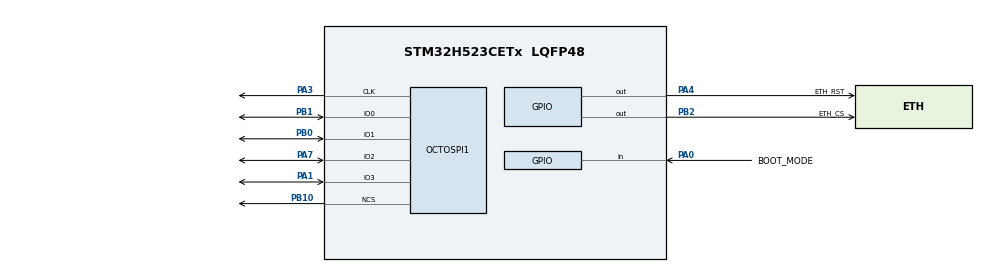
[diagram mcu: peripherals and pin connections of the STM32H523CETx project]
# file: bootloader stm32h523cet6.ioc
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BOOTPATH.BootPathName=LEGACY
BOOTPATH.UserSelectedBootPath=LEGACY
CORTEX_M33_NS.userName=CORTEX_M33
CRC.InputDataFormat=CRC_INPUTDATA_FORMAT_WORDS
Mcu.Family=STM32H5
Mcu.Name=STM32H523CETx
Mcu.Package=LQFP48
NVIC.PriorityGroup=NVIC_PRIORITYGROUP_4
OCTOSPI1.ClockPrescaler=1
OCTOSPI1.MemorySize=HAL_XSPI_SIZE_32MB
OCTOSPI1.MemoryType=HAL_XSPI_MEMTYPE_MACRONIX
PA0.GPIO_Label=BOOT_MODE
PA0.GPIO_PuPd=GPIO_PULLUP
PA0.Signal=GPIO_Input
PA1.Mode=OCTOSPI1_IO[3\:0]
PA1.Signal=OCTOSPI1_IO3
PA13(JTMS/SWDIO).Mode=Serial_Wire
PA13(JTMS/SWDIO).Signal=DEBUG_JTMS-SWDIO
PA14(JTCK/SWCLK).Mode=Serial_Wire
PA14(JTCK/SWCLK).Signal=DEBUG_JTCK-SWCLK
PA3.Mode=quad_mode
PA3.Signal=OCTOSPI1_CLK
PA4.GPIO_Label=ETH_RST
PA4.Signal=GPIO_Output
PA7.Mode=OCTOSPI1_IO[3\:0]
PA7.Signal=OCTOSPI1_IO2
PB0.Mode=OCTOSPI1_IO[3\:0]
PB0.Signal=OCTOSPI1_IO1
PB1.Mode=OCTOSPI1_IO[3\:0]
PB1.Signal=OCTOSPI1_IO0
PB10.Mode=quad_mode
PB10.Signal=OCTOSPI1_NCS
PB2.GPIO_Label=ETH_CS
PB2.Signal=GPIO_Output
PH0-OSC_IN(PH0).Mode=HSE-External-Oscillator
PH0-OSC_IN(PH0).Signal=RCC_OSC_IN
PH1-OSC_OUT(PH1).Mode=HSE-External-Oscillator
PH1-OSC_OUT(PH1).Signal=RCC_OSC_OUT
ProjectManager.HeapSize=0x200
ProjectManager.StackSize=0x400
ProjectManager.TargetToolchain=STM32CubeIDE
RCC.ADCFreq_Value=250000000
RCC.AHBFreq_Value=250000000
RCC.APB1Freq_Value=250000000
RCC.APB1TimFreq_Value=250000000
RCC.APB2Freq_Value=250000000
RCC.APB2TimFreq_Value=250000000
RCC.APB3Freq_Value=250000000
RCC.CSI_VALUE=4000000
RCC.CortexFreq_Value=250000000
RCC.EPOD_VALUE=25000000
RCC.HCLKFreq_Value=250000000
RCC.HSE_VALUE=25000000
RCC.HSI48_VALUE=48000000
RCC.HSI_VALUE=64000000
RCC.LSE_VALUE=32768
RCC.LSIRC_VALUE=32000
RCC.PLL2FRACN=0
RCC.PLL2M=2
RCC.PLL2N=40
RCC.PLL2P=4
RCC.PLL2Source=RCC_PLL2_SOURCE_HSE
RCC.PLL3FRACN=0
RCC.PLL3M=5
RCC.PLL3N=80
RCC.PLL3Source=RCC_PLL3_SOURCE_HSE
RCC.PLLFRACN=0
RCC.PLLM=2
RCC.PLLN=40
RCC.PLLSourceVirtual=RCC_PLL1_SOURCE_HSE
RCC.SPI1CLockSelection=RCC_SPI1CLKSOURCE_PLL2P
RCC.SPI3CLockSelection=RCC_SPI3CLKSOURCE_PLL3P
RCC.SYSCLKFreq_VALUE=250000000
RCC.SYSCLKSource=RCC_SYSCLKSOURCE_PLLCLK
RCC.USBFreq_Value=48000000
RCC.VCOOutputFreq_Value=500000000
VP_BOOTPATH_VS_BOOTPATH.Mode=BP_Activate
VP_CORTEX_M33_NS_VS_Hclk.Mode=Hclk_Mode
VP_CRC_VS_CRC.Mode=CRC_Activate
VP_MEMORYMAP_VS_MEMORYMAP.Mode=CurAppReg
VP_PWR_VS_LPOM.Mode=PowerOptimisation
VP_PWR_VS_SECSignals.Mode=Security/Privilege
board=custom

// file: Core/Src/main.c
/* USER CODE BEGIN Header */
/**
  ******************************************************************************
  * @file           : main.c
  * @brief          : Bootloader STM32H523CET6
  *                   - Backup Image : Flash Internal @ 0x08002000 (Sektor 1..63)
  *                   - App Image    : Flash Eksternal OctoSPI XIP @ 0x90001000
  *
  * ALUR:
  *  1. Init clock (LL) + GPIO (LL) + CRC (LL)
  *  2. Init OctoSPI → Indirect Read mode
  *  3. Baca metadata App dari flash eksternal (size, CRC, flag)
  *  4. Verifikasi firmware App di flash eksternal:
  *     - CRC OK  : jika flag OTA 0xA5, clear flag, switch MM mode, jump ke APP (0x90001000)
  *     - CRC FAIL / App Kosong: jump ke Backup di flash internal (0x08002000)
  *
  * CATATAN:
  *  - Flash internal STM32H5 sektor = 8 KB. Sektor 0 (0x08000000) = Bootloader.
  *  - OctoSPI TIDAK boleh di-deinit saat jump ke App (flash tetap harus aktif untuk XIP).
  ******************************************************************************
  * @attention
  *
  * Copyright (c) 2026 STMicroelectronics.
  * All rights reserved.
  *
  * This software is licensed under terms that can be found in the LICENSE file
  * in the root directory of this software component.
  * If no LICENSE file comes with this software, it is provided AS-IS.
  *
  ******************************************************************************
  */
/* USER CODE END Header */
#include "main.h"
#include "crc.h"
#include "gpio.h"

/* USER CODE BEGIN Includes */
#include "octospi_ll.h"
/* USER CODE END Includes */

/* USER CODE BEGIN PTD */

/* Tipe function pointer ke Reset_Handler aplikasi                           */
typedef void (*pFunction)(void);

/* USER CODE END PTD */

/* USER CODE BEGIN PD */

/* --------------------------------------------------------------------------
 * ALOKASI PARTISI FLASH INTERNAL (STM32H523 - 512 KB Total, Sektor = 8 KB)
 * -------------------------------------------------------------------------- */
/* Sektor 0   : Bootloader  (0x08000000 - 0x08001FFF, 8 KB)                  */
/* Sektor 1.. : Backup Image (0x08002000 - 0x0807FFFF, 504 KB)               */
#define BACKUP_APP_ADDRESS      (0x08002000UL)

/* --------------------------------------------------------------------------
 * ALOKASI PARTISI FLASH EKSTERNAL (OctoSPI Physical Offset)
 * -------------------------------------------------------------------------- */
#define EXTFLASH_SECTOR_SIZE    (4UL * 1024UL)          /* 4 KB (1 sector SPI flash)    */
#define FLASH_APP_META          (0x00000000UL)          /* Sektor 0 (0 KB - 4 KB): Meta */
#define FLASH_APP_BIN           (FLASH_APP_META + EXTFLASH_SECTOR_SIZE) /* 0x00001000 (4 KB)   */
#define FLASH_STAGING_META      (0x00100000UL)          /* Sektor 256 (1 MB): Staging Meta */
#define FLASH_STAGING_BIN       (FLASH_STAGING_META + EXTFLASH_SECTOR_SIZE) /* 0x00101000 (1 MB + 4 KB) */
#define FLASH_APP_MAX_SIZE      (1020UL * 1024UL)       /* ~1020 KB batas binary aplikasi   */

#define STAGING_FLAG_VALID      0xA5U

/* --------------------------------------------------------------------------
 * ALAMAT MEMORY-MAPPED (CPU SPACE @ 0x90000000)
 * -------------------------------------------------------------------------- */
#define APP_MM_ADDRESS          (OCTOSPI1_MM_BASE + FLASH_APP_BIN) /* 0x90001000 */
#define APP_ADDRESS             APP_MM_ADDRESS                     /* Alias      */

/* USER CODE END PD */

void SystemClock_Config(void);
/* USER CODE BEGIN PFP */
static void Boot_CheckAndJump(void);
static void Jump_To_Address(uint32_t address);
/* USER CODE END PFP */

/* USER CODE BEGIN 0 */

/* ==========================================================================
 * HELPER: Baca bytes dari flash eksternal via OctoSPI Indirect Read
 * Dipanggil SEBELUM memory-mapped mode aktif
 * ========================================================================== */
static void Flash_ReadBytes_Indirect(uint32_t flash_offset, uint8_t *buf, uint32_t len)
{
    /* Tunggu OctoSPI tidak busy                                             */
    while (OCTOSPI1->SR & OCTOSPI_SR_BUSY);

    /* Set panjang data yang akan dibaca                                     */
    OCTOSPI1->DLR = len - 1U;

    /* CCR: 1-1-4 Fast Read, Indirect Read mode (FMODE=01)
     * IMODE [4:3]   = 01 → Instruction: 1 wire
     * ADMODE[7:6]   = 01 → Address: 1 wire (SPI standar untuk indirect)
     * ADSIZE[9:8]   = 10 → Address: 24-bit
     * DMODE [27:26] = 01 → Data: 1 wire (indirect dibaca per byte)
     * DCYC  [22:17] = 0  → Tidak ada dummy untuk read biasa (0x03 cmd)     */
    OCTOSPI1->CCR = (1U << OCTOSPI_CCR_IMODE_Pos)
                  | (1U << OCTOSPI_CCR_ADMODE_Pos)
                  | (2U << OCTOSPI_CCR_ADSIZE_Pos)
                  | (1U << OCTOSPI_CCR_DMODE_Pos);

    /* FMODE = 01 → Indirect Read                                            */
    OCTOSPI1->CR = (OCTOSPI1->CR & ~OCTOSPI_CR_FMODE_Msk)
                 | (1U << OCTOSPI_CR_FMODE_Pos);

    /* IR: perintah baca normal (0x03)                                       */
    OCTOSPI1->IR = 0x03U;

    /* AR: alamat di flash yang ingin dibaca                                 */
    OCTOSPI1->AR = flash_offset;

    /* Baca data byte per byte dari FIFO                                     */
    for (uint32_t i = 0; i < len; i++)
    {
        while (!(OCTOSPI1->SR & OCTOSPI_SR_FTF) &&
               !(OCTOSPI1->SR & OCTOSPI_SR_TCF));
        buf[i] = *(__IO uint8_t *)(&OCTOSPI1->DR);
    }

    /* Tunggu Transfer Complete                                              */
    while (!(OCTOSPI1->SR & OCTOSPI_SR_TCF));
    OCTOSPI1->FCR = OCTOSPI_FCR_CTCF;

    /* Kembali ke Indirect Write mode (default)                              */
    OCTOSPI1->CR = (OCTOSPI1->CR & ~OCTOSPI_CR_FMODE_Msk);
}

/* ==========================================================================
 * HELPER: Tunggu proses internal Flash (WIP bit = 0)
 * ========================================================================== */
static void Flash_WaitBusy_Indirect(void)
{
    uint8_t status;
    do {
        while (OCTOSPI1->SR & OCTOSPI_SR_BUSY);
        OCTOSPI1->DLR = 0U;
        OCTOSPI1->CCR = (1U << OCTOSPI_CCR_IMODE_Pos)
                      | (1U << OCTOSPI_CCR_DMODE_Pos);
        OCTOSPI1->CR  = (OCTOSPI1->CR & ~OCTOSPI_CR_FMODE_Msk)
                      | (1U << OCTOSPI_CR_FMODE_Pos);
        OCTOSPI1->IR  = FLASH_CMD_RDSR;
        while (!(OCTOSPI1->SR & OCTOSPI_SR_TCF) &&
               !(OCTOSPI1->SR & OCTOSPI_SR_FTF));
        status = *(__IO uint8_t *)(&OCTOSPI1->DR);
        while (!(OCTOSPI1->SR & OCTOSPI_SR_TCF));
        OCTOSPI1->FCR = OCTOSPI_FCR_CTCF;
        OCTOSPI1->CR  = (OCTOSPI1->CR & ~OCTOSPI_CR_FMODE_Msk);
    } while (status & 0x01U);
}

/* ==========================================================================
 * HELPER: Tulis 1 byte ke flash via OctoSPI Indirect Write
 * ========================================================================== */
static void Flash_WriteByte_Indirect(uint32_t flash_offset, uint8_t byte)
{
    Flash_WaitBusy_Indirect();
    OCTOSPI1_LL_SendCmd(FLASH_CMD_WREN);

    while (OCTOSPI1->SR & OCTOSPI_SR_BUSY);
    OCTOSPI1->DLR = 0U;
    OCTOSPI1->CCR = (1U << OCTOSPI_CCR_IMODE_Pos)
                  | (1U << OCTOSPI_CCR_ADMODE_Pos)
                  | (2U << OCTOSPI_CCR_ADSIZE_Pos)
                  | (1U << OCTOSPI_CCR_DMODE_Pos);
    OCTOSPI1->CR = (OCTOSPI1->CR & ~OCTOSPI_CR_FMODE_Msk);
    OCTOSPI1->IR = 0x02U; /* Page Program */
    OCTOSPI1->AR = flash_offset;

    *(__IO uint8_t *)(&OCTOSPI1->DR) = byte;

    while (!(OCTOSPI1->SR & OCTOSPI_SR_TCF));
    OCTOSPI1->FCR = OCTOSPI_FCR_CTCF;

    Flash_WaitBusy_Indirect();
}

/* ==========================================================================
 * HELPER: Erase 1 sektor (4 KB) di flash eksternal
 * ========================================================================== */
static void Flash_EraseSector_Indirect(uint32_t flash_offset)
{
    Flash_WaitBusy_Indirect();
    OCTOSPI1_LL_SendCmd(FLASH_CMD_WREN);

    while (OCTOSPI1->SR & OCTOSPI_SR_BUSY);
    OCTOSPI1->DLR = 0U;
    OCTOSPI1->CCR = (1U << OCTOSPI_CCR_IMODE_Pos)
                  | (1U << OCTOSPI_CCR_ADMODE_Pos)
                  | (2U << OCTOSPI_CCR_ADSIZE_Pos);
    OCTOSPI1->CR  = (OCTOSPI1->CR & ~OCTOSPI_CR_FMODE_Msk);
    OCTOSPI1->IR  = 0x20U; /* Sector Erase 4KB */
    OCTOSPI1->AR  = flash_offset;

    while (!(OCTOSPI1->SR & OCTOSPI_SR_TCF));
    OCTOSPI1->FCR = OCTOSPI_FCR_CTCF;

    Flash_WaitBusy_Indirect();
}

/* ==========================================================================
 * HELPER: Tulis 1 page (maks 256 byte) ke flash eksternal
 * ========================================================================== */
static void Flash_WritePage_Indirect(uint32_t flash_offset, const uint8_t *data, uint16_t len)
{
    if (len == 0 || len > 256) return;
    Flash_WaitBusy_Indirect();
    OCTOSPI1_LL_SendCmd(FLASH_CMD_WREN);

    while (OCTOSPI1->SR & OCTOSPI_SR_BUSY);
    OCTOSPI1->DLR = (uint32_t)(len - 1U);
    OCTOSPI1->CCR = (1U << OCTOSPI_CCR_IMODE_Pos)
                  | (1U << OCTOSPI_CCR_ADMODE_Pos)
                  | (2U << OCTOSPI_CCR_ADSIZE_Pos)
                  | (1U << OCTOSPI_CCR_DMODE_Pos);
    OCTOSPI1->CR  = (OCTOSPI1->CR & ~OCTOSPI_CR_FMODE_Msk);
    OCTOSPI1->IR  = 0x02U; /* Page Program */
    OCTOSPI1->AR  = flash_offset;

    for (uint16_t i = 0; i < len; i++)
    {
        while (!(OCTOSPI1->SR & OCTOSPI_SR_FTF) &&
               !(OCTOSPI1->SR & OCTOSPI_SR_TCF));
        *(__IO uint8_t *)(&OCTOSPI1->DR) = data[i];
    }

    while (!(OCTOSPI1->SR & OCTOSPI_SR_TCF));
    OCTOSPI1->FCR = OCTOSPI_FCR_CTCF;

    Flash_WaitBusy_Indirect();
}

/* ==========================================================================
 * HELPER: Salin firmware dari STAGING (0x00101000) ke APP (0x00001000)
 * ========================================================================== */
static void Boot_CopyStagingToApp(uint32_t size, uint32_t crc)
{
    /* 1. Hapus sektor-sektor aplikasi aktif (FLASH_APP_BIN) */
    uint32_t sectors = (size + EXTFLASH_SECTOR_SIZE - 1U) / EXTFLASH_SECTOR_SIZE;
    for (uint32_t s = 0; s < sectors; s++)
    {
        Flash_EraseSector_Indirect(FLASH_APP_BIN + (s * EXTFLASH_SECTOR_SIZE));
    }

    /* 2. Salin binary dari FLASH_STAGING_BIN ke FLASH_APP_BIN per page (256 byte) */
    uint8_t page_buf[256];
    uint32_t copied = 0;
    while (copied < size)
    {
        uint16_t chunk = (size - copied > sizeof(page_buf)) ? (uint16_t)sizeof(page_buf) : (uint16_t)(size - copied);
        Flash_ReadBytes_Indirect(FLASH_STAGING_BIN + copied, page_buf, chunk);
        Flash_WritePage_Indirect(FLASH_APP_BIN + copied, page_buf, chunk);
        copied += chunk;
    }

    /* 3. Tulis metadata aplikasi di FLASH_APP_META */
    Flash_EraseSector_Indirect(FLASH_APP_META);
    uint8_t app_meta[10] = { 0 };
    app_meta[0] = (uint8_t)(size);
    app_meta[1] = (uint8_t)(size >> 8);
    app_meta[2] = (uint8_t)(size >> 16);
    app_meta[3] = (uint8_t)(size >> 24);
    app_meta[4] = (uint8_t)(crc);
    app_meta[5] = (uint8_t)(crc >> 8);
    app_meta[6] = (uint8_t)(crc >> 16);
    app_meta[7] = (uint8_t)(crc >> 24);
    app_meta[8] = 0x00; /* Flag App Normal */
    Flash_WritePage_Indirect(FLASH_APP_META, app_meta, 10);

    /* 4. Hapus flag valid staging (tulis 0x00 ke byte ke-8 di FLASH_STAGING_META) */
    Flash_WriteByte_Indirect(FLASH_STAGING_META + 8U, 0x00U);
}

/* ==========================================================================
 * HELPER: Hitung CRC32 dari flash eksternal (indirect read, per 32-bit word)
 * Menggunakan hardware CRC unit STM32H5 (sudah di-init oleh MX_CRC_Init)
 * ========================================================================== */
static uint32_t CRC32_ComputeFromFlash(uint32_t flash_offset, uint32_t size_bytes)
{
    uint8_t  buf[64];
    uint32_t remaining = size_bytes;
    uint32_t offset    = flash_offset;

    /* Reset CRC unit                                                        */
    LL_CRC_ResetCRCCalculationUnit(CRC);

    while (remaining > 0U)
    {
        uint32_t chunk = (remaining > sizeof(buf)) ? sizeof(buf) : remaining;

        /* Bulatkan ke kelipatan 4 (karena feed per word 32-bit)            */
        uint32_t chunk_aligned = (chunk + 3U) & ~3U;

        /* Bersihkan buffer dulu agar padding 0xFF tidak merusak CRC        */
        for (uint32_t z = 0; z < chunk_aligned; z++) buf[z] = 0xFFU;

        Flash_ReadBytes_Indirect(offset, buf, chunk);

        /* Feed ke hardware CRC per 32-bit word                             */
        for (uint32_t i = 0; i < chunk_aligned; i += 4U)
        {
            uint32_t word = (uint32_t)buf[i]
                          | ((uint32_t)buf[i + 1U] << 8U)
                          | ((uint32_t)buf[i + 2U] << 16U)
                          | ((uint32_t)buf[i + 3U] << 24U);
            LL_CRC_FeedData32(CRC, word);
        }

        offset    += chunk;
        remaining -= chunk;
    }

    return LL_CRC_ReadData32(CRC);
}

/* ==========================================================================
 * HELPER: Jump ke aplikasi di alamat tertentu (Internal Flash atau XIP MM)
 * ========================================================================== */
static void Jump_To_Address(uint32_t address)
{
    uint32_t app_msp   = *(__IO uint32_t *)(address);
    uint32_t app_reset = *(__IO uint32_t *)(address + 4U);

    /* Validasi MSP: harus di range SRAM STM32H523 (0x20000000..0x20044000) */
    if ((app_msp & 0xFF000000U) != 0x20000000U)
    {
        while (1); /* Flash tidak valid, hang di sini                       */
    }

    __disable_irq();

    /* Matikan SysTick sepenuhnya                                            */
    SysTick->CTRL = 0U;
    SysTick->LOAD = 0U;
    SysTick->VAL  = 0U;

    /* Clear semua IRQ pending di NVIC                                       */
    for (uint8_t i = 0; i < 8U; i++)
    {
        NVIC->ICER[i] = 0xFFFFFFFFU;
        NVIC->ICPR[i] = 0xFFFFFFFFU;
    }

    /* Pindahkan Vector Table ke lokasi aplikasi                             */
    SCB->VTOR = address;

    /* Reset MSPLIM (Stack Pointer Limit) untuk Cortex-M33                   */
    __set_MSPLIM(0);

    __DSB();
    __ISB();

    /* Eksekusi Jump via Assembly Murni (Bebas dari Stack Frame C)           */
    __asm volatile (
        "msr msp, %0 \n"  /* Isi Main Stack Pointer dengan MSP aplikasi */
        "bx  %1      \n"  /* Branch langsung ke Reset_Handler aplikasi  */
        :
        : "r" (app_msp), "r" (app_reset)
        : "memory"
    );

    while (1); /* Tidak seharusnya sampai sini                              */
}

/* ==========================================================================
 * MAIN LOGIC: Cek firmware App di Flash Eksternal, lalu fallback ke Backup
 *
 * Alur:
 *  1. Baca FLASH_APP_META dari OctoSPI flash:
 *     Format metadata: [0..3]=size, [4..7]=crc32, [8]=flag (0xA5 jika baru OTA)
 *  2. Jika size valid & MSP valid:
 *     - Hitung hardware CRC32 dari binary di FLASH_APP_BIN (0x00001000)
 *     - Jika CRC cocok:
 *         * Clear flag 0xA5 (jika ada) di byte ke-8
 *         * Aktifkan mode Memory-Mapped OctoSPI
 *         * Jump ke APP_MM_ADDRESS (0x90001000)
 *  3. Jika App tidak valid / corrupt:
 *     - Cek firmware Backup di Flash Internal (0x08002000)
 *     - Jika MSP valid: Jump ke Backup (0x08002000)
 *  4. Jika keduanya tidak valid: CPU hang (while 1)
 * ========================================================================== */
static void Boot_CheckAndJump(void)
{
    /* ======================================================================
     * 0. MANUAL RECOVERY MODE (TOMBOL BOOT_MODE / PA0)
     *    Jika pin BOOT_MODE ditekan ke GND (LOW saat startup/reset),
     *    langsung paksa meloncat ke program Backup di internal flash.
     * ====================================================================== */
    if (LL_GPIO_IsInputPinSet(BOOT_MODE_GPIO_Port, BOOT_MODE_Pin) == 0)
    {
        uint32_t backup_msp = *(__IO uint32_t *)(BACKUP_APP_ADDRESS);
        if ((backup_msp & 0xFF000000U) == 0x20000000U)
        {
            Jump_To_Address(BACKUP_APP_ADDRESS);
        }
    }

    uint8_t  meta[10];
    uint8_t  app_valid = 0;

    /* ======================================================================
     * 1. CEK FIRMWARE BARU DI STAGING AREA (HASIL OTA DARI APP)
     * ====================================================================== */
    Flash_ReadBytes_Indirect(FLASH_STAGING_META, meta, sizeof(meta));

    uint32_t size_stg = (uint32_t)meta[0]
                      | ((uint32_t)meta[1] << 8U)
                      | ((uint32_t)meta[2] << 16U)
                      | ((uint32_t)meta[3] << 24U);
    uint32_t crc_stg  = (uint32_t)meta[4]
                      | ((uint32_t)meta[5] << 8U)
                      | ((uint32_t)meta[6] << 16U)
                      | ((uint32_t)meta[7] << 24U);
    uint8_t  flag_stg = meta[8];

    if (flag_stg == STAGING_FLAG_VALID && size_stg > 0U && size_stg <= FLASH_APP_MAX_SIZE)
    {
        /* Validasi header binary staging (MSP & Reset Handler) */
        uint8_t hdr_stg[8];
        Flash_ReadBytes_Indirect(FLASH_STAGING_BIN, hdr_stg, 8U);
        uint32_t msp_stg = (uint32_t)hdr_stg[0]
                         | ((uint32_t)hdr_stg[1] << 8U)
                         | ((uint32_t)hdr_stg[2] << 16U)
                         | ((uint32_t)hdr_stg[3] << 24U);
        uint32_t rst_stg = (uint32_t)hdr_stg[4]
                         | ((uint32_t)hdr_stg[5] << 8U)
                         | ((uint32_t)hdr_stg[6] << 16U)
                         | ((uint32_t)hdr_stg[7] << 24U);

        /* MSP harus di SRAM (0x20xxxxxx) & 4-byte aligned; Reset vector harus di OctoSPI (0x90xxxxxx) & Thumb bit (ganjil) */
        if (((msp_stg & 0xFF000000U) == 0x20000000U) && ((msp_stg & 0x03U) == 0U) &&
            ((rst_stg & 0xFF000000U) == 0x90000000U) && ((rst_stg & 0x01U) == 1U))
        {
            uint32_t crc_calc = CRC32_ComputeFromFlash(FLASH_STAGING_BIN, size_stg);
            if (crc_calc == crc_stg)
            {
                /* Valid binary STM32! Salin dari Staging ke Active App */
                Boot_CopyStagingToApp(size_stg, crc_stg);
            }
            else
            {
                /* CRC staging tidak cocok (data rusak) -> Hapus flag staging */
                Flash_WriteByte_Indirect(FLASH_STAGING_META + 8U, 0x00U);
            }
        }
        else
        {
            /* Binary bukan untuk STM32 (misal ESP8266) -> Hapus flag staging, tolak update */
            Flash_WriteByte_Indirect(FLASH_STAGING_META + 8U, 0x00U);
        }
    }

    /* ======================================================================
     * 2. CEK FIRMWARE APLIKASI UTAMA DI FLASH EKSTERNAL (XIP OctoSPI)
     * ====================================================================== */
    Flash_ReadBytes_Indirect(FLASH_APP_META, meta, sizeof(meta));

    uint32_t size_app = (uint32_t)meta[0]
                      | ((uint32_t)meta[1] << 8U)
                      | ((uint32_t)meta[2] << 16U)
                      | ((uint32_t)meta[3] << 24U);
    uint32_t crc_app  = (uint32_t)meta[4]
                      | ((uint32_t)meta[5] << 8U)
                      | ((uint32_t)meta[6] << 16U)
                      | ((uint32_t)meta[7] << 24U);

    if (size_app > 0U && size_app <= FLASH_APP_MAX_SIZE)
    {
        /* Validasi Initial Stack Pointer (MSP) dan Reset Handler di awal binary aplikasi */
        uint8_t hdr_bytes[8];
        Flash_ReadBytes_Indirect(FLASH_APP_BIN, hdr_bytes, 8U);
        uint32_t msp_app = (uint32_t)hdr_bytes[0]
                         | ((uint32_t)hdr_bytes[1] << 8U)
                         | ((uint32_t)hdr_bytes[2] << 16U)
                         | ((uint32_t)hdr_bytes[3] << 24U);
        uint32_t rst_app = (uint32_t)hdr_bytes[4]
                         | ((uint32_t)hdr_bytes[5] << 8U)
                         | ((uint32_t)hdr_bytes[6] << 16U)
                         | ((uint32_t)hdr_bytes[7] << 24U);

        /* MSP harus di SRAM (0x20xxxxxx) & 4-byte aligned; Reset vector harus di OctoSPI (0x90xxxxxx) & Thumb bit (ganjil) */
        if (((msp_app & 0xFF000000U) == 0x20000000U) && ((msp_app & 0x03U) == 0U) &&
            ((rst_app & 0xFF000000U) == 0x90000000U) && ((rst_app & 0x01U) == 1U))
        {
            /* Hitung hardware CRC32 dari binary aplikasi */
            uint32_t crc_calc = CRC32_ComputeFromFlash(FLASH_APP_BIN, size_app);

            if (crc_calc == crc_app)
            {
                app_valid = 1;
            }
        }
    }

    if (app_valid)
    {
        /* CRC cocok → aktifkan mode Memory-Mapped → Jump ke APP */
        OCTOSPI1_LL_MemoryMapped();
        Jump_To_Address(APP_MM_ADDRESS);
    }

    /* ======================================================================
     * 3. JIKA APP GAGAL / KORUP / KOSONG: JUMP KE FIRMWARE BACKUP
     *    (Backup berada di Flash Internal @ 0x08002000, Sektor 1)
     * ====================================================================== */
    uint32_t backup_msp = *(__IO uint32_t *)(BACKUP_APP_ADDRESS);

    if ((backup_msp & 0xFF000000U) == 0x20000000U)
    {
        Jump_To_Address(BACKUP_APP_ADDRESS);
    }

    /* ======================================================================
     * 4. FLASH KOSONG ATAU DUA-DUANYA KORUP: Tahan CPU di sini
     * ====================================================================== */
    while (1);
}

/* USER CODE END 0 */

int main(void)
{

  /* MCU Configuration--------------------------------------------------------*/

  /* Reset of all peripherals, Initializes the Flash interface and the Systick. */
  HAL_Init();

  /* Configure the system clock */
  SystemClock_Config();

  /* Initialize all configured peripherals */
  MX_GPIO_Init();
  MX_CRC_Init();
  /* USER CODE BEGIN 2 */

  /* --- Init OctoSPI1 core + GPIO (Indirect mode dulu, belum MM) --------- */
  OCTOSPI1_LL_IndirectInit();

  /* --- Cek staging, verifikasi CRC, lalu jump ke aplikasi (XIP) --------- */
  Boot_CheckAndJump();

  /* USER CODE END 2 */

  /* Infinite loop */
  while (1)
  {

  }
}

void SystemClock_Config(void)
{
  LL_FLASH_SetLatency(LL_FLASH_LATENCY_5);
  while(LL_FLASH_GetLatency()!= LL_FLASH_LATENCY_5)
  {
  }

  LL_PWR_SetRegulVoltageScaling(LL_PWR_REGU_VOLTAGE_SCALE0);
  while (LL_PWR_IsActiveFlag_VOS() == 0)
  {
  }
  LL_RCC_HSE_Enable();

   /* Wait till HSE is ready */
  while(LL_RCC_HSE_IsReady() != 1)
  {
  }

  LL_RCC_PLL1_SetSource(LL_RCC_PLL1SOURCE_HSE);
  LL_RCC_PLL1_SetVCOInputRange(LL_RCC_PLLINPUTRANGE_8_16);
  LL_RCC_PLL1_SetVCOOutputRange(LL_RCC_PLLVCORANGE_WIDE);
  LL_RCC_PLL1_SetM(2);
  LL_RCC_PLL1_SetN(40);
  LL_RCC_PLL1_SetP(2);
  LL_RCC_PLL1_SetQ(2);
  LL_RCC_PLL1_SetR(2);
  LL_RCC_PLL1P_Enable();
  LL_RCC_PLL1_Enable();

   /* Wait till PLL is ready */
  while(LL_RCC_PLL1_IsReady() != 1)
  {
  }

  LL_RCC_SetSysClkSource(LL_RCC_SYS_CLKSOURCE_PLL1);

   /* Wait till System clock is ready */
  while(LL_RCC_GetSysClkSource() != LL_RCC_SYS_CLKSOURCE_STATUS_PLL1)
  {
  }

  LL_RCC_SetAHBPrescaler(LL_RCC_SYSCLK_DIV_1);
  LL_RCC_SetAPB1Prescaler(LL_RCC_APB1_DIV_1);
  LL_RCC_SetAPB2Prescaler(LL_RCC_APB2_DIV_1);
  LL_RCC_SetAPB3Prescaler(LL_RCC_APB3_DIV_1);
  LL_SetSystemCoreClock(250000000);

   /* Update the time base */
  if (HAL_InitTick (TICK_INT_PRIORITY) != HAL_OK)
  {
    Error_Handler();
  }
}

void Error_Handler(void)
{
  __disable_irq();
  while (1)
  {
  }
}
